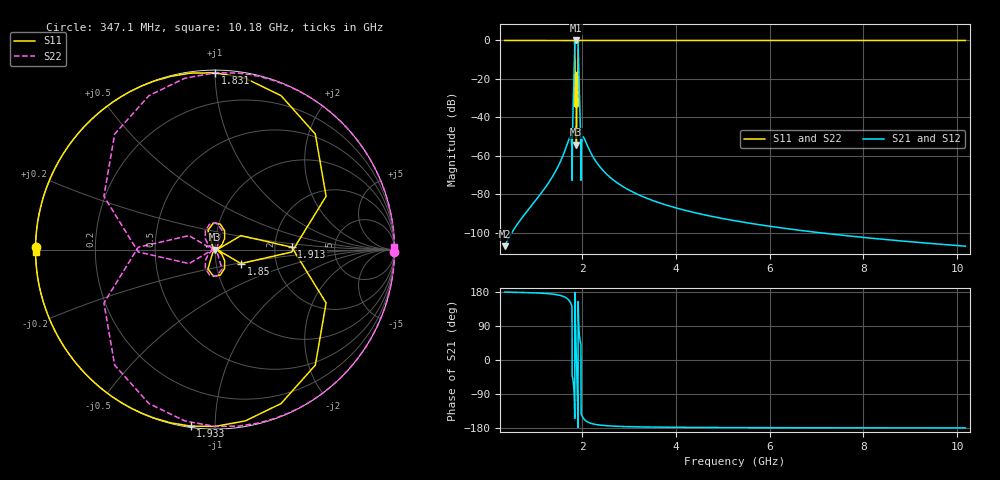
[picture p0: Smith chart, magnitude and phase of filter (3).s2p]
! rf-tools.com
! Date: Thu Jan 30 2020 11:05:01 GMT+0000 (格林尼治标准时间)
# Hz S DB R 50.00
!Frequency  S11 dB  S11 Deg  S21 dB  S21 Deg  S12 dB  S12 Deg  S22 dB  S22 Deg
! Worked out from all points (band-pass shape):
!   2000 points, 347.1 MHz to 10.18 GHz, reference 50 ohm
!   highest |S21| = 0.00 dB at 1.878 GHz (marker M1); lowest = -107.0 dB at 347.1 MHz (marker M2)
!   |S21| within 3 dB of the highest: 1.843 GHz to 1.917 GHz (73.59 MHz wide, 3.91 % of centre)
!   lowest |S11| = -54.2 dB at 1.878 GHz (marker M3), VSWR 1.00, Z = 50.2 + j0.0233 ohm
!   |S11| at or under -10 dB: 1.848 GHz to 1.912 GHz (64.72 MHz wide, 3.44 % of centre)
!   |S22| runs from -54.2 to 0.0 dB; largest |S21 - S12| = 0
!   S11 on the Smith chart (normalised r, x): 347.1 MHz: -0.00, +0.01; 1.831 GHz: 0.01, +1.00; 1.85 GHz: 1.32, -0.21; 1.913 GHz: 2.49, +0.08; 1.933 GHz: 0.01, -0.87; 10.18 GHz: -0.00, -0.01
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3.47119e8  -0.00 179.2  -106.98 179.2  -106.98 179.2  -0.00 -0.8
1.10288e9  -0.00 176.5  -80.23 176.5  -80.23 176.5  -0.00 -3.5
1.40677e9  -0.00 173.3  -69.24 173.3  -69.24 173.3  -0.00 -6.7
1.7289e9  -0.00 156.3  -50.81 156.3  -50.81 156.3  -0.00 -23.7
1.770296e9  -0.00 146.4  -51.40 146.4  -51.40 146.4  -0.00 -33.6
1.80047e9  -0.00 132.0  -43.43 -48.0  -43.43 -48.0  -0.00 -48.0
1.815749e9  -0.01 118.1  -29.29 -61.9  -29.29 -61.9  -0.01 -61.9
1.831157e9  -0.13 90.0  -15.32 -90.0  -15.32 -90.0  -0.13 -90.0
1.849821e9  -15.71 -28.4  -0.12 151.6  -0.12 151.6  -15.71 151.6
1.878173e9  -54.18 6.8  -0.00 6.8  -0.00 6.8  -54.18 -173.2
1.913416e9  -7.38 1.8  -0.88 -178.2  -0.88 -178.2  -7.38 -178.2
1.932918e9  -0.06 -97.9  -18.32 82.1  -18.32 82.1  -0.06 82.1
1.95923e9  -0.00 -129.8  -40.27 50.2  -40.27 50.2  -0.00 50.2
1.985899e9  -0.00 -143.1  -55.04 -143.1  -55.04 -143.1  -0.00 36.9
2.179349e9  -0.00 -166.7  -58.11 -166.7  -58.11 -166.7  -0.00 13.3
2.724041e9  -0.00 -174.8  -73.58 -174.8  -73.58 -174.8  -0.00 5.2
3.171559e9  -0.00 -176.4  -79.87 -176.4  -79.87 -176.4  -0.00 3.6
3.624583e9  -0.00 -177.2  -84.24 -177.2  -84.24 -177.2  -0.00 2.8
5.26587e9  -0.00 -178.4  -93.77 -178.4  -93.77 -178.4  -0.00 1.6
6.91262e9  -0.00 -178.8  -99.52 -178.8  -99.52 -178.8  -0.00 1.2
8.55314e9  -0.00 -179.1  -103.70 -179.1  -103.70 -179.1  -0.00 0.9
1.01795e10  -0.00 -179.2  -106.98 -179.2  -106.98 -179.2  -0.00 0.8
